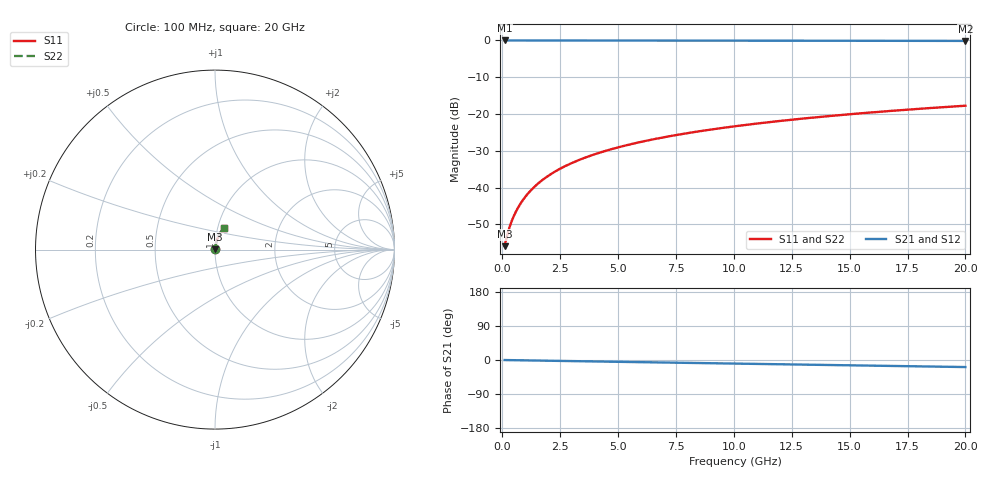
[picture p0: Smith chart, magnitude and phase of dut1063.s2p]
! Touchstone file exported from HFSS 2026.1.0
!  File:  C:/ffzhzh/LocalFiles/Ansys_Project_Files/temp_train_TMRDL_1063_1783160601_18472.aedt
!  Generated:  06:24:38 PM Jul  4, 2026
!  Design:  TMRDL
!  Project:  temp_train_TMRDL_1063_1783160601_18472
! Variables:
!  h_bsmrdl = 2um
!  h_ox = 20um
!  h_rdl = 5um
!  h_sub = 80um
!  h_tmrdl = 4.51um
!  h_tsv = 80um
!  h_via = 3um
!  l_bsmrdl = 300um
!  l_sub = 687.6um
!  l_tmrdl = 287.6um
!  m_sub = 200um
!  pitch = 32.15um
!  r_tsv = 6um
!  s_tmrdl = 10um
!  w_bsmrdl = 18um
!  w_sub = 500um
!  w_tmrdl = 19.02um
!  x_tsv_center1 = 297.11um
!  x_tsv_center2 = 615.11um
!  x_tsv_center3 = 921.73um
!  x_tsv_center4 = 1239.73um
!  x_tsv_center5 = 1546.35um
!  x_tsv_center6 = 1864.35um
# GHz S MA R 50.000000
! Terminal data exported
! Port[1] = TM_RDL1_1_T1
! Port[2] = TM_RDL1_1_T2
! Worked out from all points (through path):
!   200 points, 100 MHz to 20 GHz, reference 50 ohm
!   highest |S21| = -0.01 dB at 100 MHz (marker M1); lowest = -0.1 dB at 20 GHz (marker M2)
!   group delay of S21, straight-line fit = 2.58 ps
!   lowest |S11| = -55.9 dB at 100 MHz (marker M3), VSWR 1.00, Z = 50.1 + j0.085 ohm
!   |S11| at or under -10 dB: start of sweep to end of sweep
!   |S22| runs from -55.9 to -17.7 dB; largest |S21 - S12| = 2.3e-15
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0.1  0.001601 32.0  0.9986 -0.1  0.9986 -0.1  0.001601 32.0
! Gamma 0 0 0 0
! Port Impedance 50 0 50 0
0.2  0.002187 48.3  0.9986 -0.2  0.9986 -0.2  0.002187 48.3
0.3  0.002825 56.9  0.9985 -0.3  0.9985 -0.3  0.002825 56.9
0.4  0.003474 62.3  0.9984 -0.4  0.9984 -0.4  0.003474 62.3
0.5  0.004131 66.1  0.9983 -0.5  0.9983 -0.5  0.004131 66.1
0.6  0.004799 69.0  0.9983 -0.6  0.9983 -0.6  0.004799 69.0
0.8  0.006159 72.9  0.9982 -0.8  0.9982 -0.8  0.006159 72.9
1  0.007542 75.4  0.9982 -1.0  0.9982 -1.0  0.007542 75.4
1.2  0.00894 77.1  0.9981 -1.2  0.9981 -1.2  0.00894 77.1
1.4  0.01034 78.2  0.9981 -1.4  0.9981 -1.4  0.01034 78.2
1.7  0.01246 79.3  0.998 -1.7  0.998 -1.7  0.01246 79.3
2.2  0.01598 80.3  0.9978 -2.1  0.9978 -2.1  0.01598 80.3
2.8  0.02018 80.7  0.9975 -2.7  0.9975 -2.7  0.02018 80.7
3.5  0.02503 80.7  0.9971 -3.4  0.9971 -3.4  0.02503 80.7
4.2  0.02982 80.4  0.9967 -4.0  0.9967 -4.0  0.02982 80.4
5  0.03522 80.0  0.9962 -4.8  0.9962 -4.8  0.03522 80.0
6.8  0.04716 78.7  0.995 -6.5  0.995 -6.5  0.04716 78.7
8.3  0.05693 77.6  0.9939 -7.9  0.9939 -7.9  0.05693 77.6
10.1  0.0685 76.3  0.9927 -9.5  0.9927 -9.5  0.0685 76.3
13.4  0.08934 73.7  0.9902 -12.6  0.9902 -12.6  0.08934 73.7
16.7  0.1097 71.0  0.9875 -15.6  0.9875 -15.6  0.1097 71.0
20  0.1296 68.3  0.9845 -18.6  0.9845 -18.6  0.1296 68.3
